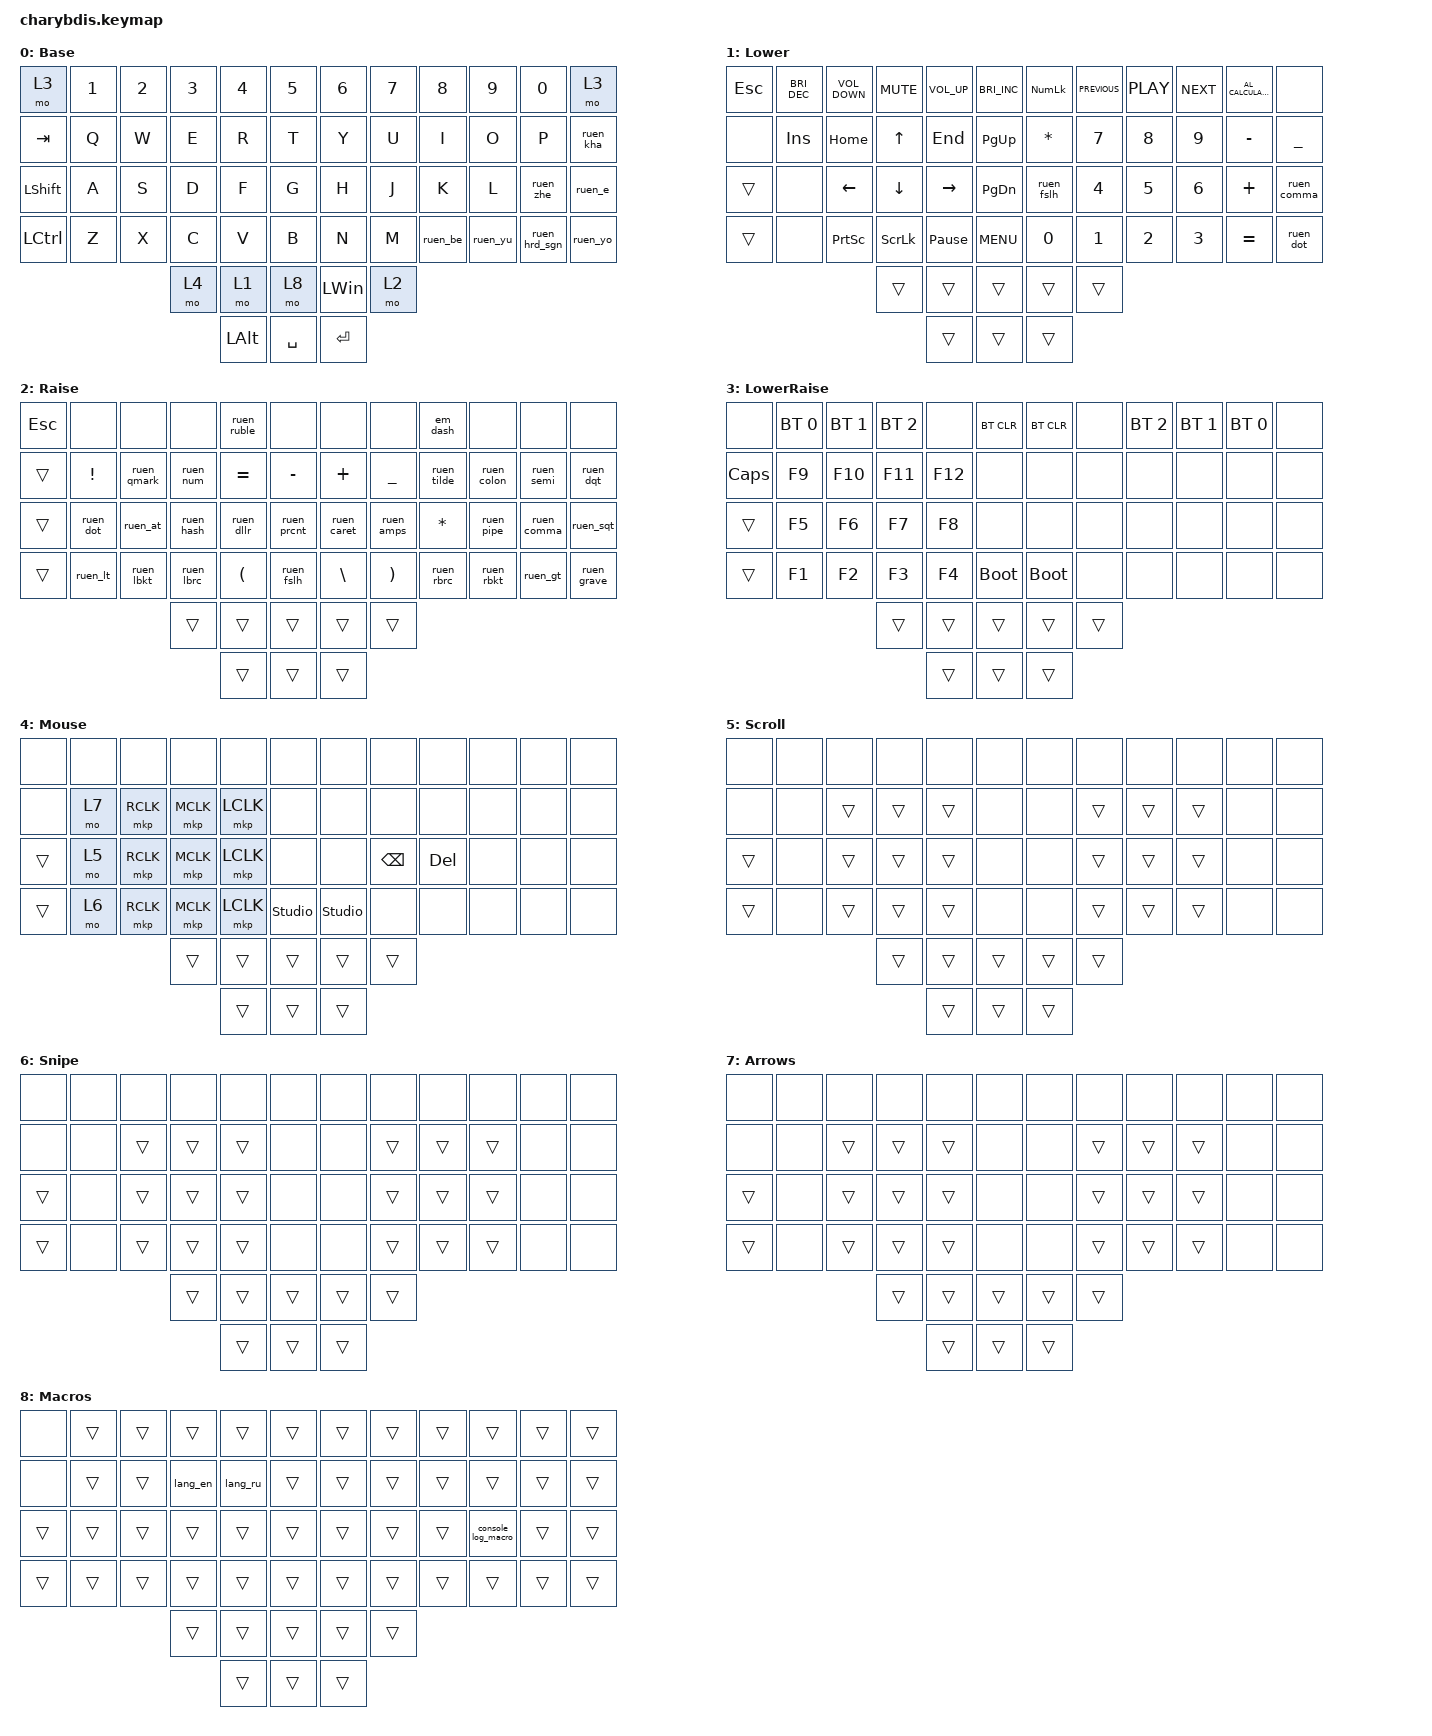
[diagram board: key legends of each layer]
#include <dt-bindings/zmk/mouse.h>
#include <behaviors.dtsi>
#include <dt-bindings/zmk/bt.h>
#include <dt-bindings/zmk/keys.h>
#include <dt-bindings/zmk/pointing.h>
#include <dt-bindings/zmk/ruen.h>
#include <behaviors/ruen.dtsi>

&ruen {
    en-key = <LA(LS(N1))>;
    ru-key = <LA(LS(N2))>;
    default-mode = <1>;
};

&mt {
  tapping-term-ms = <200>;
  quick-tap-ms = <200>;
};

&lt {
  tapping-term-ms = <200>;
  quick-tap-ms = <200>;
  require-prior-idle-ms = <0>;
};

/ {
    combos { compatible = "zmk,combos"; };

    macros {
        console_log_macro: console_log_macro {
            compatible = "zmk,behavior-macro";
            #binding-cells = <0>;
            wait-ms = <0>;
            tap-ms = <0>;
            bindings = <&ruen RUEN_EN &kp C &kp O &kp N &kp S &kp O &kp L &kp E &kp DOT &kp L &kp O &kp G>;
            label = "CONSOLE_LOG_MACRO";
        };

        em_dash: em_dash {
            compatible = "zmk,behavior-macro";
            #binding-cells = <0>;
            wait-ms = <0>;
            tap-ms = <0>;
            bindings
                = <&macro_press &kp LALT>
                , <&macro_tap &kp KP_N0 &kp KP_N1 &kp KP_N5 &kp KP_N1>
                , <&macro_release &kp LALT>
                ;
            label = "EM_DASH";
        };

        lang_en: lang_en {
            compatible = "zmk,behavior-macro";
            #binding-cells = <0>;
            wait-ms = <0>;
            tap-ms = <0>;
            bindings
                = <&macro_press &ruen RUEN_EN>
                , <&macro_pause_for_release>
                , <&macro_release &ruen RUEN_EN>
                ;
            label = "LANG_EN";
        };

        lang_ru: lang_ru {
            compatible = "zmk,behavior-macro";
            #binding-cells = <0>;
            wait-ms = <0>;
            tap-ms = <0>;
            bindings
                = <&macro_press &ruen RUEN_RU>
                , <&macro_pause_for_release>
                , <&macro_release &ruen RUEN_RU>
                ;
            label = "LANG_RU";
        };
    };

    conditional_layers {
        compatible = "zmk,conditional-layers";

        LowerRaise {
            if-layers = <2 1>;
            then-layer = <3>;
        };
    };

    keymap {
        compatible = "zmk,keymap";

        // 0
        Base {
//                    //                    //                    //                    //                    // ________||________ //                    //                    //                    //                    //                    //                    //
            bindings = < 
&mo 3                 &kp N1                &kp N2                &kp N3                &kp N4                &kp N5                &kp N6                &kp N7                &kp N8                &kp N9                &kp N0                &mo 3                 //
&kp TAB               &kp Q                 &kp W                 &kp E                 &kp R                 &kp T                 &kp Y                 &kp U                 &kp I                 &kp O                 &kp P                 &ruen_kha             //
&kp LEFT_SHIFT        &kp A                 &kp S                 &kp D                 &kp F                 &kp G                 &kp H                 &kp J                 &kp K                 &kp L                 &ruen_zhe             &ruen_e               //
&kp LCTRL             &kp Z                 &kp X                 &kp C                 &kp V                 &kp B                 &kp N                 &kp M                 &ruen_be              &ruen_yu              &ruen_hrd_sgn         &ruen_yo              //
                                                                  &mo 4                 &mo 1                 &mo 8                 &kp LEFT_WIN          &mo 2                 //
                                                                                        &kp LEFT_ALT          &kp SPACE             &kp ENTER             //
            >;
        };

        // 1
        Lower {
//                    //                    //                    //                    //                    // ________||________ //                    //                    //                    //                    //                    //                    //
            bindings = <
&kp ESCAPE            &kp C_BRIGHTNESS_DEC  &kp C_VOLUME_DOWN     &kp C_MUTE            &kp C_VOLUME_UP       &kp C_BRIGHTNESS_INC  &kp KP_NUMLOCK        &kp C_PREVIOUS        &kp C_PLAY            &kp C_NEXT            &kp C_AL_CALCULATOR   &none                 //
&none                 &kp INSERT            &kp HOME              &kp UP                &kp END               &kp PAGE_UP           &kp STAR              &kp N7                &kp N8                &kp N9                &kp MINUS             &kp UNDER             //
&trans                &none                 &kp LEFT              &kp DOWN              &kp RIGHT             &kp PAGE_DOWN         &ruen_fslh            &kp N4                &kp N5                &kp N6                &kp PLUS              &ruen_comma           //
&trans                &none                 &kp PRINTSCREEN       &kp SCROLLLOCK        &kp PAUSE_BREAK       &kp C_MENU            &kp N0                &kp N1                &kp N2                &kp N3                &kp EQUAL             &ruen_dot             //
                                                                  &trans                &trans                &trans                &trans                &trans                //
                                                                                        &trans                &trans                &trans                //
            >;         
        };

        // 2
        // &ruen_store  &ruen_revert
        Raise {
//                    //                    //                    //                    //                    // ________||________ //                    //                    //                    //                    //                    //                    //
            bindings = <
&kp ESCAPE            &none                 &none                 &none                 &ruen_ruble           &none                 &none                 &none                 &em_dash              &none                 &none                 &none                 //
&trans                &kp EXCL              &ruen_qmark           &ruen_num             &kp EQUAL             &kp MINUS             &kp PLUS              &kp UNDER             &ruen_tilde           &ruen_colon           &ruen_semi            &ruen_dqt             //
&trans                &ruen_dot             &ruen_at              &ruen_hash            &ruen_dllr            &ruen_prcnt           &ruen_caret           &ruen_amps            &kp STAR              &ruen_pipe            &ruen_comma           &ruen_sqt             //
&trans                &ruen_lt              &ruen_lbkt            &ruen_lbrc            &kp LPAR              &ruen_fslh            &kp BACKSLASH         &kp RPAR              &ruen_rbrc            &ruen_rbkt            &ruen_gt              &ruen_grave           //
                                                                  &trans                &trans                &trans                &trans                &trans                //
                                                                                        &trans                &trans                &trans                //
            >;
        };

        // 3
        LowerRaise {
//                    //                    //                    //                    //                    // ________||________ //                    //                    //                    //                    //                    //                    //
            bindings = <
&none                 &bt BT_SEL 0          &bt BT_SEL 1          &bt BT_SEL 2          &none                 &bt BT_CLR            &bt BT_CLR            &none                 &bt BT_SEL 2          &bt BT_SEL 1          &bt BT_SEL 0          &none                 //
&kp CAPSLOCK          &kp F9                &kp F10               &kp F11               &kp F12               &none                 &none                 &none                 &none                 &none                 &none                 &none                 //
&trans                &kp F5                &kp F6                &kp F7                &kp F8                &none                 &none                 &none                 &none                 &none                 &none                 &none                 //
&trans                &kp F1                &kp F2                &kp F3                &kp F4                &bootloader           &bootloader           &none                 &none                 &none                 &none                 &none                 //
                                                                  &trans                &trans                &trans                &trans                &trans                //
                                                                                        &trans                &trans                &trans                //
            >;
        };

        // 4
        Mouse {
//                    //                    //                    //                    //                    // ________||________ //                    //                    //                    //                    //                    //                    //
            bindings = <
&none                 &none                 &none                 &none                 &none                 &none                 &none                 &none                 &none                 &none                 &none                 &none                 //
&none                 &mo 7                 &mkp RCLK             &mkp MCLK             &mkp LCLK             &none                 &none                 &none                 &none                 &none                 &none                 &none                 //
&trans                &mo 5                 &mkp RCLK             &mkp MCLK             &mkp LCLK             &none                 &none                 &kp BACKSPACE         &kp DELETE            &none                 &none                 &none                 //
&trans                &mo 6                 &mkp RCLK             &mkp MCLK             &mkp LCLK             &studio_unlock        &studio_unlock        &none                 &none                 &none                 &none                 &none                 //
                                                                  &trans                &trans                &trans                &trans                &trans                //
                                                                                        &trans                &trans                &trans                //
            >;
        };

        // 5
        Scroll {
//                    //                    //                    //                    //                    // ________||________ //                    //                    //                    //                    //                    //                    //
            bindings = <
&none                 &none                 &none                 &none                 &none                 &none                 &none                 &none                 &none                 &none                 &none                 &none                 //
&none                 &none                 &trans                &trans                &trans                &none                 &none                 &trans                &trans                &trans                &none                 &none                 //
&trans                &none                 &trans                &trans                &trans                &none                 &none                 &trans                &trans                &trans                &none                 &none                 //
&trans                &none                 &trans                &trans                &trans                &none                 &none                 &trans                &trans                &trans                &none                 &none                 //
                                                                  &trans                &trans                &trans                &trans                &trans                //
                                                                                        &trans                &trans                &trans                //
            >;
        };

        // 6
        Snipe {
//                    //                    //                    //                    //                    // ________||________ //                    //                    //                    //                    //                    //                    //
            bindings = <
&none                 &none                 &none                 &none                 &none                 &none                 &none                 &none                 &none                 &none                 &none                 &none                 //
&none                 &none                 &trans                &trans                &trans                &none                 &none                 &trans                &trans                &trans                &none                 &none                 //
&trans                &none                 &trans                &trans                &trans                &none                 &none                 &trans                &trans                &trans                &none                 &none                 //
&trans                &none                 &trans                &trans                &trans                &none                 &none                 &trans                &trans                &trans                &none                 &none                 //
                                                                  &trans                &trans                &trans                &trans                &trans                //
                                                                                        &trans                &trans                &trans                //
            >;
        };

        // 7
        Arrows {
//                    //                    //                    //                    //                    // ________||________ //                    //                    //                    //                    //                    //                    //
            bindings = <
&none                 &none                 &none                 &none                 &none                 &none                 &none                 &none                 &none                 &none                 &none                 &none                 //
&none                 &none                 &trans                &trans                &trans                &none                 &none                 &trans                &trans                &trans                &none                 &none                 //
&trans                &none                 &trans                &trans                &trans                &none                 &none                 &trans                &trans                &trans                &none                 &none                 //
&trans                &none                 &trans                &trans                &trans                &none                 &none                 &trans                &trans                &trans                &none                 &none                 //
                                                                  &trans                &trans                &trans                &trans                &trans                //
                                                                                        &trans                &trans                &trans                //
            >;
        };

        // 8
        Macros {
//                    //                    //                    //                    //                    // ________||________ //                    //                    //                    //                    //                    //                    //
            bindings = <
&none                 &trans                &trans                &trans                &trans                &trans                &trans                &trans                &trans                &trans                &trans                &trans                //
&none                 &trans                &trans                &lang_en              &lang_ru              &trans                &trans                &trans                &trans                &trans                &trans                &trans                //
&trans                &trans                &trans                &trans                &trans                &trans                &trans                &trans                &trans                &console_log_macro    &trans                &trans                //
&trans                &trans                &trans                &trans                &trans                &trans                &trans                &trans                &trans                &trans                &trans                &trans                //
                                                                  &trans                &trans                &trans                &trans                &trans                //
                                                                                        &trans                &trans                &trans                //
            >;
        };
    };
};
